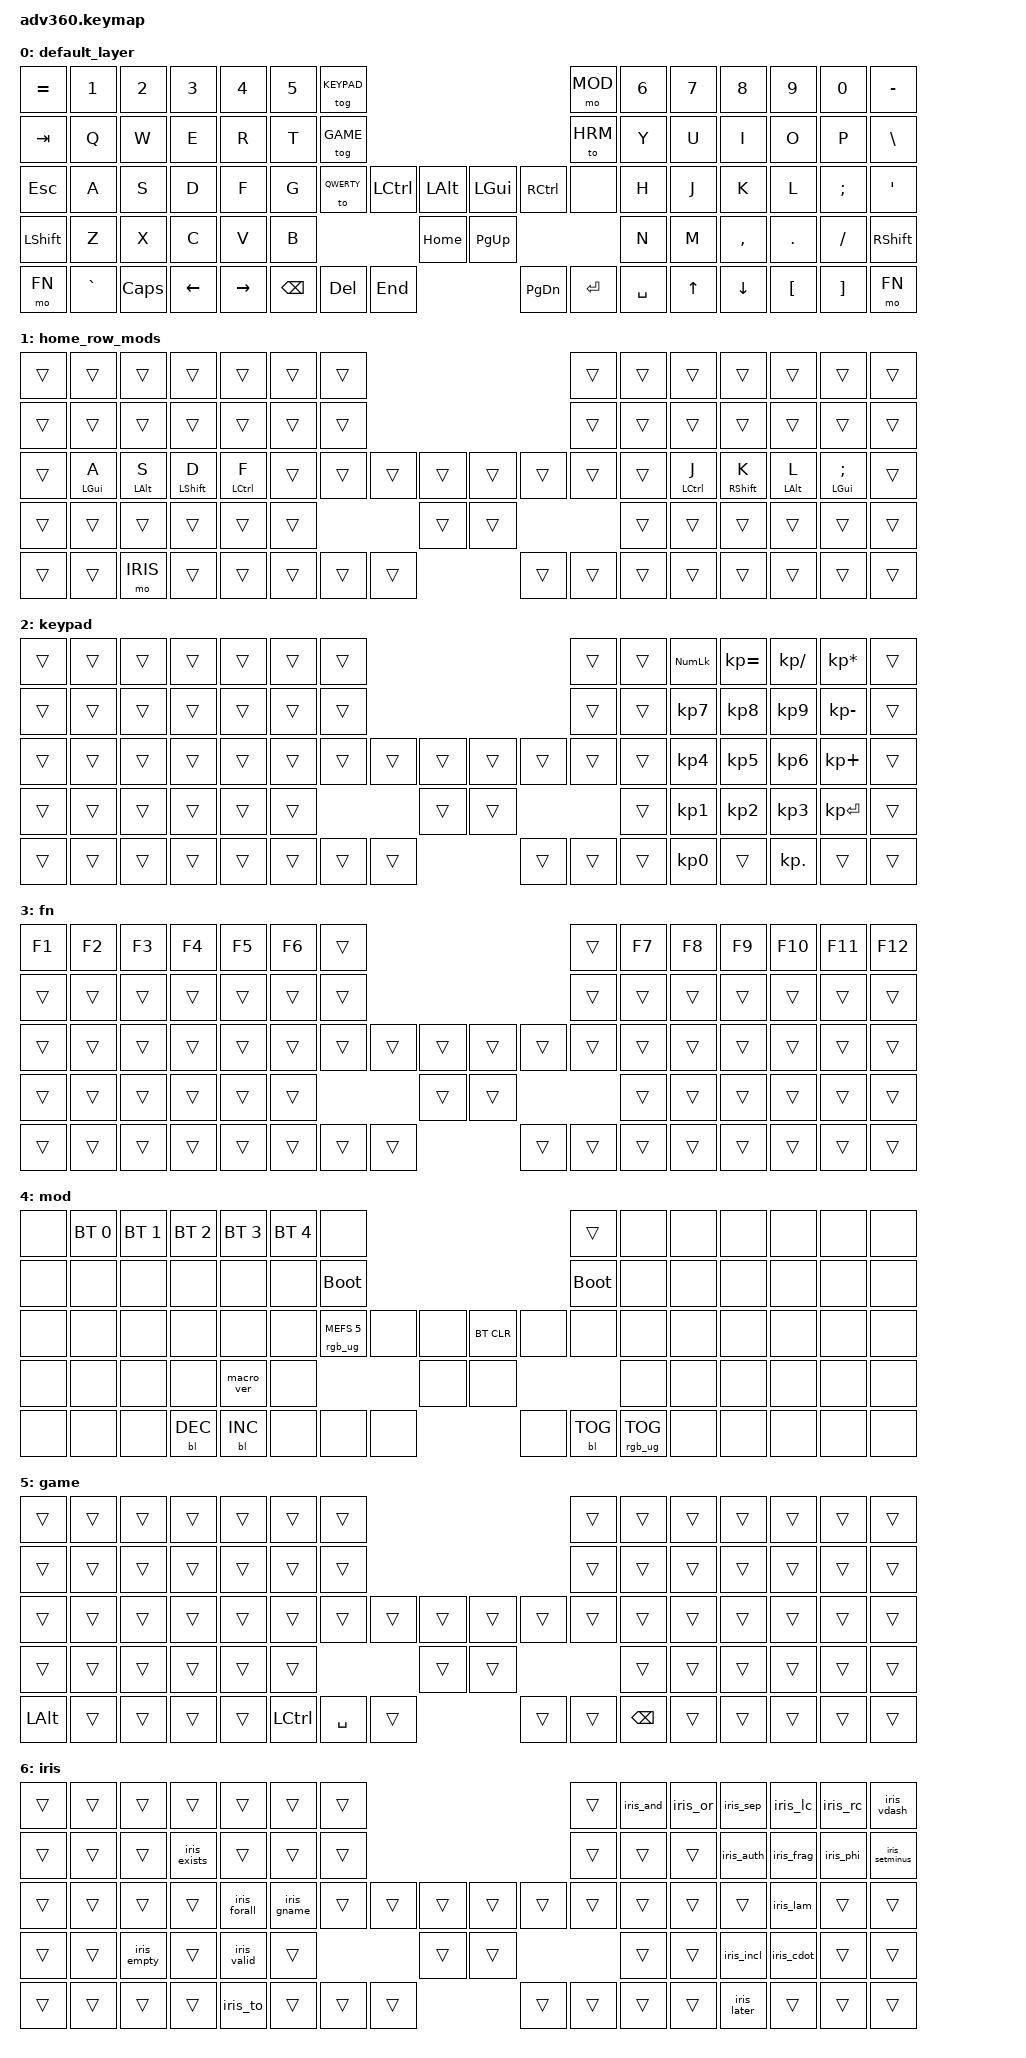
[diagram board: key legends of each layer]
#include <behaviors.dtsi>
#include <dt-bindings/zmk/keys.h>
#include <dt-bindings/zmk/bt.h>
#include <dt-bindings/zmk/rgb.h>
#include <dt-bindings/zmk/backlight.h>
#include "./zmk-nodefree-config/helper.h"
#include "macros.h"

#define ___ &trans

#define KEYS_L 0 1 2 3 4 5 6 14 15 16 17 18 19 20 28 29 30 31 32 33 34 46 47 48 49 50 51 60 61 62 63 64

#define THUMBS_LEFT 35 36 52 65 66 67

#define KEYS_R 7 8 9 10 11 12 13 21 22 23 24 25 26 27 39 40 41 42 43 44 45 54 55 56 57 58 59 71 72 73 74 75

#define THUMBS_RIGHT 37 38 53 68 69 70

#define NAVI 63 64 71 72

#define QWERTY 0
#define HRM 1
#define KEYPAD 2
#define FN 3
#define MOD 4
#define GAME 5
#define IRIS 6

/* left-hand HRMs */
ZMK_BEHAVIOR(hml, hold_tap,
    flavor = "balanced";
    tapping-term-ms = <280>;
    quick-tap-ms = <175>;                // repeat on tap-into-hold
    require-prior-idle-ms = <150>;
    bindings = <&kp>, <&kp>;
    hold-trigger-key-positions = <KEYS_R THUMBS_LEFT THUMBS_RIGHT NAVI>;
    hold-trigger-on-release;
)

/* right-hand HRMs */
ZMK_BEHAVIOR(hmr, hold_tap,
    flavor = "balanced";
    tapping-term-ms = <280>;
    quick-tap-ms = <175>;                // repeat on tap-into-hold
    require-prior-idle-ms = <150>;
    bindings = <&kp>, <&kp>;
    hold-trigger-key-positions = <KEYS_L THUMBS_LEFT THUMBS_RIGHT NAVI>;
    hold-trigger-on-release;
)

IRIS_MACRO(iris_lam, N0, N3, B, B)
IRIS_MACRO(iris_cdot, N2, N2, C, N5)
IRIS_MACRO(iris_vdash, N2, N2, A, N2)
IRIS_MACRO(iris_valid, N2, N7, N1, N3)
IRIS_MACRO(iris_later, N2, N5, B, N7)
IRIS_MACRO(iris_phi, N0, N3, C, N6)
IRIS_MACRO(iris_and, N2, N2, N2, N7)
IRIS_MACRO(iris_or, N2, N2, N2, N8)
IRIS_MACRO(iris_forall, N2, N2, N0, N0)
IRIS_MACRO(iris_exists, N2, N2, N0, N3)
IRIS_MACRO(iris_to, N2, N1, N9, N2)
IRIS_MACRO(iris_sep, N2, N2, N1, N7)
IRIS_MACRO(iris_lc, N2, N3, N1, C)
IRIS_MACRO(iris_rc, N2, N3, N1, D)
IRIS_MACRO(iris_empty, N2, N2, N0, N5)
IRIS_MACRO(iris_setminus, N2, N2, N1, N6)
IRIS_MACRO(iris_auth, N2, N5, C, F)
IRIS_MACRO(iris_frag, N2, N5, E, F)
IRIS_MACRO(iris_gname, N0, N3, B, N3)
IRIS_MACRO(iris_incl, N2, N2, N7, C)

/ {
    behaviors {
      #include "macros.dtsi"
      #include "version.dtsi"
      #ifndef VERSION_MACRO
      macro_ver: macro_ver {
        compatible = "zmk,behavior-macro";
        label = "macro_version";
        #binding-cells = <0>;
        bindings = <&kp RET>;
      };
      #endif
    };

  keymap {
    compatible = "zmk,keymap";

    default_layer {
      bindings = <
        &kp EQUAL &kp N1    &kp N2   &kp N3   &kp N4     &kp N5 &tog KEYPAD                                              &mo MOD &kp N6 &kp N7    &kp N8    &kp N9   &kp N0   &kp MINUS
        &kp TAB   &kp Q     &kp W    &kp E    &kp R      &kp T  &tog GAME                                                &to HRM &kp Y  &kp U     &kp I     &kp O    &kp P    &kp BSLH
        &kp ESC   &kp A     &kp S    &kp D    &kp F      &kp G  &to  QWERTY    &kp LCTRL &kp LALT &kp LGUI  &kp RCTRL    &none   &kp H  &kp J     &kp K     &kp L    &kp SEMI &kp SQT
        &kp LSHFT &kp Z     &kp X    &kp C    &kp V      &kp B                           &kp HOME &kp PG_UP                      &kp N  &kp M     &kp COMMA &kp DOT  &kp FSLH &kp RSHFT
        &mo FN    &kp GRAVE &kp CAPS &kp LEFT &kp RIGHT               &kp BSPC &kp DEL   &kp END  &kp PG_DN &kp ENTER &kp SPACE         &kp UP    &kp DOWN  &kp LBKT &kp RBKT &mo FN
      >;
    };

    home_row_mods {
      bindings = <
        ___ ___         ___         ___          ___          ___ ___                          ___ ___ ___          ___          ___         ___            ___
        ___ ___         ___         ___          ___          ___ ___                          ___ ___ ___          ___          ___         ___            ___
        ___ &hml LGUI A &hml LALT S &hml LSHFT D &hml LCTRL F ___ ___    ___ ___    ___ ___    ___ ___ &hmr LCTRL J &hmr RSHFT K &hmr LALT L &hmr LGUI SEMI ___
        ___ ___         ___         ___          ___          ___            ___    ___            ___ ___          ___          ___         ___            ___
        ___ ___         &mo  IRIS   ___          ___                 ___ ___ ___    ___ ___ ___        ___          ___          ___         ___            ___
      >;
    };

    keypad {
      bindings = <
        ___ ___ ___ ___ ___ ___ ___                          ___ ___ &kp KP_NUM &kp KP_EQUAL &kp KP_DIVIDE &kp KP_MULTIPLY ___
        ___ ___ ___ ___ ___ ___ ___                          ___ ___ &kp KP_N7  &kp KP_N8    &kp KP_N9     &kp KP_MINUS    ___
        ___ ___ ___ ___ ___ ___ ___    ___ ___    ___ ___    ___ ___ &kp KP_N4  &kp KP_N5    &kp KP_N6     &kp KP_PLUS     ___
        ___ ___ ___ ___ ___ ___            ___    ___            ___ &kp KP_N1  &kp KP_N2    &kp KP_N3     &kp KP_ENTER    ___
        ___ ___ ___ ___ ___        ___ ___ ___    ___ ___ ___        &kp KP_N0  ___          &kp KP_DOT    ___             ___
      >;
    };

    fn {
      bindings = <
        &kp F1 &kp F2 &kp F3 &kp F4 &kp F5 &kp F6 ___                          ___ &kp F7 &kp F8 &kp F9 &kp F10 &kp F11 &kp F12
        ___    ___    ___    ___    ___    ___    ___                          ___ ___    ___    ___    ___     ___     ___
        ___    ___    ___    ___    ___    ___    ___    ___ ___    ___ ___    ___ ___    ___    ___    ___     ___     ___
        ___    ___    ___    ___    ___    ___               ___    ___            ___    ___    ___    ___     ___     ___
        ___    ___    ___    ___    ___              ___ ___ ___    ___ ___ ___           ___    ___    ___     ___     ___
      >;
    };

    mod {
      bindings = <
        &none &bt BT_SEL 0 &bt BT_SEL 1 &bt BT_SEL 2 &bt BT_SEL 3 &bt BT_SEL 4 &none                                                     ___         &none        &none        &none        &none &none &none
        &none &none        &none        &none        &none        &none        &bootloader                                               &bootloader &none        &none        &none        &none &none &none
        &none &none        &none        &none        &none        &none        &rgb_ug RGB_MEFS_CMD 5    &none &none &bt BT_CLR &none    &none       &none        &none        &none        &none &none &none
        &none &none        &none        &none        &macro_ver   &none                                        &none &none                           &none        &none        &none        &none &none &none
        &none &none        &none        &bl BL_DEC   &bl BL_INC                                    &none &none &none &none      &bl BL_TOG &rgb_ug RGB_TOG        &none        &none        &none &none &none
      >;
    };

    game {
      bindings = <
        ___      ___ ___ ___ ___ ___ ___                                           ___ ___ ___ ___ ___ ___ ___
        ___      ___ ___ ___ ___ ___ ___                                           ___ ___ ___ ___ ___ ___ ___
        ___      ___ ___ ___ ___ ___ ___                ___ ___    ___ ___         ___ ___ ___ ___ ___ ___ ___
        ___      ___ ___ ___ ___ ___                        ___    ___                 ___ ___ ___ ___ ___ ___
        &kp LALT ___ ___ ___ ___        &kp LCTRL &kp SPACE ___    ___ ___ &kp BSPC        ___ ___ ___ ___ ___
      >;
    };

    iris {
      bindings = <
        ___ ___ ___         ___          ___          ___         ___                          ___ &iris_and &iris_or &iris_sep   &iris_lc   &iris_rc  &iris_vdash
        ___ ___ ___         &iris_exists ___          ___         ___                          ___ ___       ___      &iris_auth  &iris_frag &iris_phi &iris_setminus
        ___ ___ ___         ___          &iris_forall &iris_gname ___    ___ ___    ___ ___    ___ ___       ___      ___         &iris_lam  ___       ___
        ___ ___ &iris_empty ___          &iris_valid  ___                    ___    ___            ___       ___      &iris_incl  &iris_cdot ___       ___
        ___ ___ ___         ___          &iris_to                    ___ ___ ___ ___ ___ ___                 ___      &iris_later ___        ___       ___
      >;
    };
  };
};
